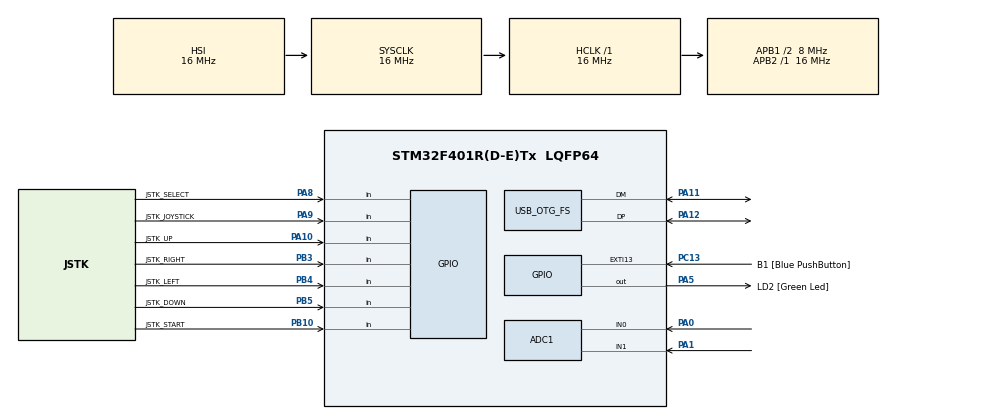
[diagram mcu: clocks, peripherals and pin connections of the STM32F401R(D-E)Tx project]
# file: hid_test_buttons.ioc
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Mcu.Family=STM32F4
USB_DEVICE.CLASS_NAME_FS=HID
RCC.CortexFreq_Value=16000000
PB10.GPIO_PuPd=GPIO_PULLUP
PA14.GPIO_Label=TCK
PA11.Mode=Device_Only
ProjectManager.StackSize=0x400
PA12.Signal=USB_OTG_FS_DP
PH0\ -\ OSC_IN.Signal=RCC_OSC_IN
RCC.HCLKFreq_Value=16000000
RCC.APB2TimFreq_Value=16000000
RCC.AHBFreq_Value=16000000
ADC1.Channel-0\#ChannelRegularConversion=ADC_CHANNEL_0
RCC.HSE_VALUE=8000000
PC13-ANTI_TAMP.Signal=GPXTI13
PB3.GPIO_PuPd=GPIO_PULLUP
PC14-OSC32_IN.Mode=LSE-External-Oscillator
PA14.Mode=Serial_Wire
PA5.GPIO_PuPd=GPIO_NOPULL
PA10.GPIO_Label=JSTK_UP
PA8.Signal=GPIO_Input
SH.ADCx_IN0.0=ADC1_IN0,IN0
ADC1.SamplingTime-0\#ChannelRegularConversion=ADC_SAMPLETIME_3CYCLES
Mcu.Package=LQFP64
NVIC.OTG_FS_IRQn=true\:0\:0\:false\:false\:true\:false\:true
PA10.Signal=GPIO_Input
USB_OTG_FS.VirtualMode=Device_Only
SH.ADCx_IN1.0=ADC1_IN1,IN1
PB5.GPIO_Label=JSTK_DOWN
RCC.APB1TimFreq_Value=16000000
PB4.Signal=GPIO_Input
PA3.Signal=USART2_RX
PB3.GPIO_Label=JSTK_RIGHT
PC15-OSC32_OUT.Mode=LSE-External-Oscillator
ADC1.Rank-0\#ChannelRegularConversion=1
PC13-ANTI_TAMP.GPIO_PuPd=GPIO_NOPULL
USB_DEVICE.VirtualModeFS=Hid_FS
PC13-ANTI_TAMP.GPIO_Label=B1 [Blue PushButton]
PA9.GPIO_Label=JSTK_JOYSTICK
PH1\ -\ OSC_OUT.Mode=HSE-External-Clock-Source
USB_DEVICE.PRODUCT_STRING_HID_FS=Louis Mouse
RCC.APB1CLKDivider=RCC_HCLK_DIV2
PC14-OSC32_IN.Signal=RCC_OSC32_IN
PA9.GPIO_PuPd=GPIO_PULLUP
PA0-WKUP.Signal=ADCx_IN0
PA13.Signal=SYS_JTMS-SWDIO
PH0\ -\ OSC_IN.Mode=HSE-External-Clock-Source
PA8.GPIO_Label=JSTK_SELECT
ProjectManager.TargetToolchain=SW4STM32
PB10.GPIO_Label=JSTK_START
PA9.Signal=GPIO_Input
PB4.GPIO_PuPd=GPIO_PULLUP
PC15-OSC32_OUT.Signal=RCC_OSC32_OUT
PA1.Signal=ADCx_IN1
PB10.Signal=GPIO_Input
PA5.Signal=GPIO_Output
PH1\ -\ OSC_OUT.Signal=RCC_OSC_OUT
board=NUCLEO-F401RE
RCC.VCOOutputFreq_Value=144000000
VP_USB_DEVICE_VS_USB_DEVICE_HID_FS.Mode=HID_FS
RCC.APB2Freq_Value=16000000
PB4.GPIO_Label=JSTK_LEFT
PA13.Mode=Serial_Wire
Mcu.Name=STM32F401R(D-E)Tx
PA13.GPIO_Label=TMS
PA2.Signal=USART2_TX
RCC.48MHZClocksFreq_Value=48000000
PB3.Signal=GPIO_Input
RCC.SYSCLKFreq_VALUE=16000000
PB5.Signal=GPIO_Input
ADC1.master=1
PA12.Mode=Device_Only
PA5.GPIO_Label=LD2 [Green Led]
PB5.GPIO_PuPd=GPIO_PULLUP
PC13-ANTI_TAMP.GPIO_ModeDefaultEXTI=GPIO_MODE_IT_FALLING
PA11.Signal=USB_OTG_FS_DM
PA14.Signal=SYS_JTCK-SWCLK
ProjectManager.HeapSize=0x200
RCC.HSI_VALUE=16000000
PA8.GPIO_PuPd=GPIO_PULLUP
RCC.PLLP=RCC_PLLP_DIV4
PA5.GPIO_Speed=GPIO_SPEED_FREQ_LOW
RCC.PLLQ=3
NVIC.PriorityGroup=NVIC_PRIORITYGROUP_0
ADC1.NbrOfConversionFlag=1
RCC.PLLM=4
RCC.PLLN=72
RCC.APB1Freq_Value=8000000
PA5.GPIO_Mode=GPIO_MODE_OUTPUT_PP
USB_DEVICE.VirtualMode-HID_FS=Hid

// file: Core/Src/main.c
/* USER CODE BEGIN Header */
/**
 ******************************************************************************
 * @file           : main.c
 * @brief          : Main program body
 ******************************************************************************
 * @attention
 *
 * <h2><center>&copy; Copyright (c) 2020 STMicroelectronics.
 * All rights reserved.</center></h2>
 *
 * This software component is licensed by ST under Ultimate Liberty license
 * SLA0044, the "License"; You may not use this file except in compliance with
 * the License. You may obtain a copy of the License at:
 *                             www.st.com/SLA0044
 *
 ******************************************************************************
 */
/* USER CODE END Header */
#include "main.h"
#include "usb_device.h"
#include "usbd_hid.h"

ADC_HandleTypeDef hadc1;

/* USER CODE BEGIN PV */
USBD_HandleTypeDef hUsbDeviceFS;

/* USER CODE END PV */

void SystemClock_Config(void);
static void MX_GPIO_Init(void);
static void MX_ADC1_Init(void);

/* USER CODE BEGIN 0 */
uint32_t Read_JSVRx(void);
uint32_t Read_JSVRy(void);
uint32_t Read_JSSW(void);
void CONFIG_ADC_CHANNEL(uint32_t channel);
int8_t Read_Left();
int8_t Read_Right();
int8_t Read_Up();
int8_t Read_Down();
/* USER CODE END 0 */

int main(void)
{
  /* USER CODE BEGIN 1 */
	// HID Mouse
	struct mouseHID_t {
		uint8_t buttons;
		int8_t x;
		int8_t y;
		int8_t wheel;
	};

	struct mouseHID_t mouseHID;
	uint8_t * buff = (uint8_t *) &mouseHID;
	mouseHID.buttons = 0;
	mouseHID.x = 0;
	mouseHID.y = 0;
	mouseHID.wheel = 0;
  /* USER CODE END 1 */

  /* MCU Configuration--------------------------------------------------------*/

  /* Reset of all peripherals, Initializes the Flash interface and the Systick. */
  HAL_Init();

  /* Configure the system clock */
  SystemClock_Config();

  /* Initialize all configured peripherals */
  MX_GPIO_Init();
  MX_USB_DEVICE_Init();
  MX_ADC1_Init();
  /* USER CODE BEGIN 2 */
  int8_t buttonl = 0, buttonr = 0, buttonu = 0, buttond = 0;
  int8_t buttonu_last = 0, buttond_last = 0;
  /* USER CODE END 2 */

  /* Infinite loop */
	while (1) {

    /* USER CODE BEGIN 3 */
		// Send HID reportz
		int32_t rx = (int32_t) Read_JSVRx();
		int32_t ry = (int32_t) Read_JSVRy();

		mouseHID.x = (rx - 2047) / 256;
		mouseHID.y = -(ry - 2047) / 256;

		buttonl = Read_Left();
		buttonr = Read_Right();
		buttonu = Read_Up();
		buttond = Read_Down();

		if (buttonl)
			mouseHID.buttons = 1;
		else if (buttonr)
			mouseHID.buttons = 2;
		else if (buttonu && !buttonu_last)
			mouseHID.wheel = 5;
		else if (buttond && !buttond_last)
			mouseHID.wheel = -5;
		else
			mouseHID.buttons = 0;
		buttonu_last = buttonu;
		buttond_last = buttond;

		USBD_HID_SendReport(&hUsbDeviceFS, buff, sizeof(struct mouseHID_t));
		HAL_Delay(5);
	}
  /* USER CODE END 3 */
}

void SystemClock_Config(void)
{
  RCC_OscInitTypeDef RCC_OscInitStruct = {0};
  RCC_ClkInitTypeDef RCC_ClkInitStruct = {0};

  /** Configure the main internal regulator output voltage
  */
  __HAL_RCC_PWR_CLK_ENABLE();
  __HAL_PWR_VOLTAGESCALING_CONFIG(PWR_REGULATOR_VOLTAGE_SCALE2);
  /** Initializes the RCC Oscillators according to the specified parameters
  * in the RCC_OscInitTypeDef structure.
  */
  RCC_OscInitStruct.OscillatorType = RCC_OSCILLATORTYPE_HSI|RCC_OSCILLATORTYPE_HSE;
  RCC_OscInitStruct.HSEState = RCC_HSE_BYPASS;
  RCC_OscInitStruct.HSIState = RCC_HSI_ON;
  RCC_OscInitStruct.HSICalibrationValue = RCC_HSICALIBRATION_DEFAULT;
  RCC_OscInitStruct.PLL.PLLState = RCC_PLL_ON;
  RCC_OscInitStruct.PLL.PLLSource = RCC_PLLSOURCE_HSE;
  RCC_OscInitStruct.PLL.PLLM = 4;
  RCC_OscInitStruct.PLL.PLLN = 72;
  RCC_OscInitStruct.PLL.PLLP = RCC_PLLP_DIV4;
  RCC_OscInitStruct.PLL.PLLQ = 3;
  if (HAL_RCC_OscConfig(&RCC_OscInitStruct) != HAL_OK)
  {
    Error_Handler();
  }
  /** Initializes the CPU, AHB and APB buses clocks
  */
  RCC_ClkInitStruct.ClockType = RCC_CLOCKTYPE_HCLK|RCC_CLOCKTYPE_SYSCLK
                              |RCC_CLOCKTYPE_PCLK1|RCC_CLOCKTYPE_PCLK2;
  RCC_ClkInitStruct.SYSCLKSource = RCC_SYSCLKSOURCE_HSI;
  RCC_ClkInitStruct.AHBCLKDivider = RCC_SYSCLK_DIV1;
  RCC_ClkInitStruct.APB1CLKDivider = RCC_HCLK_DIV2;
  RCC_ClkInitStruct.APB2CLKDivider = RCC_HCLK_DIV1;

  if (HAL_RCC_ClockConfig(&RCC_ClkInitStruct, FLASH_LATENCY_0) != HAL_OK)
  {
    Error_Handler();
  }
}

static void MX_ADC1_Init(void)
{

  ADC_ChannelConfTypeDef sConfig = {0};

  /** Configure the global features of the ADC (Clock, Resolution, Data Alignment and number of conversion)
  */
  hadc1.Instance = ADC1;
  hadc1.Init.ClockPrescaler = ADC_CLOCK_SYNC_PCLK_DIV2;
  hadc1.Init.Resolution = ADC_RESOLUTION_12B;
  hadc1.Init.ScanConvMode = DISABLE;
  hadc1.Init.ContinuousConvMode = DISABLE;
  hadc1.Init.DiscontinuousConvMode = DISABLE;
  hadc1.Init.ExternalTrigConvEdge = ADC_EXTERNALTRIGCONVEDGE_NONE;
  hadc1.Init.ExternalTrigConv = ADC_SOFTWARE_START;
  hadc1.Init.DataAlign = ADC_DATAALIGN_RIGHT;
  hadc1.Init.NbrOfConversion = 1;
  hadc1.Init.DMAContinuousRequests = DISABLE;
  hadc1.Init.EOCSelection = ADC_EOC_SINGLE_CONV;
  if (HAL_ADC_Init(&hadc1) != HAL_OK)
  {
    Error_Handler();
  }
  /** Configure for the selected ADC regular channel its corresponding rank in the sequencer and its sample time.
  */
  sConfig.Channel = ADC_CHANNEL_0;
  sConfig.Rank = 1;
  sConfig.SamplingTime = ADC_SAMPLETIME_3CYCLES;
  if (HAL_ADC_ConfigChannel(&hadc1, &sConfig) != HAL_OK)
  {
    Error_Handler();
  }

}

static void MX_GPIO_Init(void)
{
  GPIO_InitTypeDef GPIO_InitStruct = {0};

  /* GPIO Ports Clock Enable */
  __HAL_RCC_GPIOC_CLK_ENABLE();
  __HAL_RCC_GPIOH_CLK_ENABLE();
  __HAL_RCC_GPIOA_CLK_ENABLE();
  __HAL_RCC_GPIOB_CLK_ENABLE();

  /*Configure GPIO pin Output Level */
  HAL_GPIO_WritePin(LD2_GPIO_Port, LD2_Pin, GPIO_PIN_RESET);

  /*Configure GPIO pin : B1_Pin */
  GPIO_InitStruct.Pin = B1_Pin;
  GPIO_InitStruct.Mode = GPIO_MODE_IT_FALLING;
  GPIO_InitStruct.Pull = GPIO_NOPULL;
  HAL_GPIO_Init(B1_GPIO_Port, &GPIO_InitStruct);

  /*Configure GPIO pins : PA2 PA3 */
  GPIO_InitStruct.Pin = GPIO_PIN_2|GPIO_PIN_3;
  GPIO_InitStruct.Mode = GPIO_MODE_AF_PP;
  GPIO_InitStruct.Pull = GPIO_NOPULL;
  GPIO_InitStruct.Speed = GPIO_SPEED_FREQ_VERY_HIGH;
  GPIO_InitStruct.Alternate = GPIO_AF7_USART2;
  HAL_GPIO_Init(GPIOA, &GPIO_InitStruct);

  /*Configure GPIO pin : LD2_Pin */
  GPIO_InitStruct.Pin = LD2_Pin;
  GPIO_InitStruct.Mode = GPIO_MODE_OUTPUT_PP;
  GPIO_InitStruct.Pull = GPIO_NOPULL;
  GPIO_InitStruct.Speed = GPIO_SPEED_FREQ_LOW;
  HAL_GPIO_Init(LD2_GPIO_Port, &GPIO_InitStruct);

  /*Configure GPIO pins : JSTK_START_Pin JSTK_RIGHT_Pin JSTK_LEFT_Pin JSTK_DOWN_Pin */
  GPIO_InitStruct.Pin = JSTK_START_Pin|JSTK_RIGHT_Pin|JSTK_LEFT_Pin|JSTK_DOWN_Pin;
  GPIO_InitStruct.Mode = GPIO_MODE_INPUT;
  GPIO_InitStruct.Pull = GPIO_PULLUP;
  HAL_GPIO_Init(GPIOB, &GPIO_InitStruct);

  /*Configure GPIO pins : JSTK_SELECT_Pin JSTK_JOYSTICK_Pin */
  GPIO_InitStruct.Pin = JSTK_SELECT_Pin|JSTK_JOYSTICK_Pin;
  GPIO_InitStruct.Mode = GPIO_MODE_INPUT;
  GPIO_InitStruct.Pull = GPIO_PULLUP;
  HAL_GPIO_Init(GPIOA, &GPIO_InitStruct);

  /*Configure GPIO pin : JSTK_UP_Pin */
  GPIO_InitStruct.Pin = JSTK_UP_Pin;
  GPIO_InitStruct.Mode = GPIO_MODE_INPUT;
  GPIO_InitStruct.Pull = GPIO_NOPULL;
  HAL_GPIO_Init(JSTK_UP_GPIO_Port, &GPIO_InitStruct);

}

/* USER CODE BEGIN 4 */
uint32_t Read_JSVRx(void) {
	uint32_t val = 0;

	if (HAL_ADC_GetState(&hadc1) != HAL_ADC_STATE_REG_BUSY) {
		CONFIG_ADC_CHANNEL(ADC_CHANNEL_0);
		HAL_ADC_Start(&hadc1);
		HAL_ADC_PollForConversion(&hadc1, 100);
		val = HAL_ADC_GetValue(&hadc1);
		HAL_ADC_Stop(&hadc1);
	}
	return val;
}

uint32_t Read_JSVRy(void) {
	uint32_t val = 0;

	if (HAL_ADC_GetState(&hadc1) != HAL_ADC_STATE_REG_BUSY) {
		CONFIG_ADC_CHANNEL(ADC_CHANNEL_1);
		HAL_ADC_Start(&hadc1);
		HAL_ADC_PollForConversion(&hadc1, 100);
		val = HAL_ADC_GetValue(&hadc1);
		HAL_ADC_Stop(&hadc1);
	}
	return val;
}

uint32_t Read_JSSW(void) {
	return 0;
}

void CONFIG_ADC_CHANNEL(uint32_t channel) {
	ADC_ChannelConfTypeDef sConfig;
	sConfig.Channel = channel;
	sConfig.Rank = 1;
	sConfig.SamplingTime = ADC_SAMPLETIME_3CYCLES;
	if (HAL_ADC_ConfigChannel(&hadc1, &sConfig) != HAL_OK) {
		Error_Handler();
	}
} //Fim do void CONFIG_ADC_CHANNEL (uint32_t channel)

int8_t Read_Left()
{
	int8_t clicked=0;
	clicked  = !HAL_GPIO_ReadPin(JSTK_JOYSTICK_GPIO_Port, JSTK_JOYSTICK_Pin);
	clicked |= !HAL_GPIO_ReadPin(JSTK_LEFT_GPIO_Port, JSTK_JOYSTICK_Pin);
	clicked |= !HAL_GPIO_ReadPin(JSTK_SELECT_GPIO_Port, JSTK_JOYSTICK_Pin);
	return clicked;
}

int8_t Read_Right()
{
	int8_t clicked = 0;
	clicked  = !HAL_GPIO_ReadPin(JSTK_RIGHT_GPIO_Port, JSTK_JOYSTICK_Pin);
	clicked |= !HAL_GPIO_ReadPin(JSTK_START_GPIO_Port, JSTK_JOYSTICK_Pin);
	return clicked;
}

int8_t Read_Up()
{
	int8_t clicked = 0;
	clicked  = HAL_GPIO_ReadPin(JSTK_UP_GPIO_Port, JSTK_JOYSTICK_Pin);
	return clicked;
}

int8_t Read_Down()
{
	int8_t clicked = 0;
	clicked  = HAL_GPIO_ReadPin(JSTK_DOWN_GPIO_Port, JSTK_JOYSTICK_Pin);
	return clicked;
}

/* USER CODE END 4 */

void Error_Handler(void)
{
}

/************************ (C) COPYRIGHT STMicroelectronics *****END OF FILE****/
